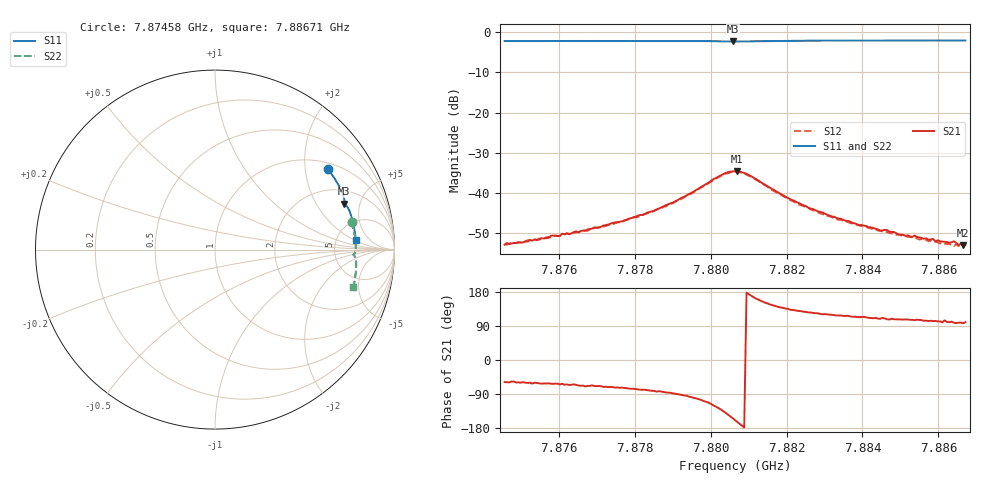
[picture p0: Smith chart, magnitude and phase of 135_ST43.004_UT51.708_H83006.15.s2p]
#  HZ  S  DB  R  50.00
! Rohde & Schwarz Vector Network Analyzer
! Rohde-Schwarz,ZNB20-2Port,1311601062101988,3.16
! Created: UTC 1/12/2023, 6:39:19 PM
! freq[Hz]  db:S11  ang:S11  db:S21  ang:S21  db:S12  ang:S12  db:S22  ang:S22
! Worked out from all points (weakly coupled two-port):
!   201 points, 7.87458 GHz to 7.88671 GHz, reference 50 ohm
!   highest |S21| = -34.57 dB at 7.8807 GHz (marker M1); lowest = -53.0 dB at 7.88665 GHz (marker M2)
!   lowest |S11| = -2.3 dB at 7.88058 GHz (marker M3), VSWR 7.46, Z = 145 + j177 ohm
!   |S11| at or under -10 dB: nowhere
!   |S22| runs from -2.3 to -2.0 dB; largest |S21 - S12| = 0.0013
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7.874579e9  -2.24 35.6  -52.85 -58.4  -52.67 -61.1  -2.20 11.5
7.876641e9  -2.21 29.9  -49.33 -67.5  -49.44 -69.6  -2.14 6.6
7.877672e9  -2.20 27.1  -47.05 -72.8  -47.15 -77.5  -2.12 4.2
7.878642e9  -2.20 24.4  -43.86 -82.2  -43.93 -86.7  -2.11 1.9
7.879249e9  -2.20 22.7  -41.14 -92.3  -41.41 -95.7  -2.11 0.4
7.880341e9  -2.32 19.9  -35.27 -135.3  -35.41 -139.0  -2.22 -2.1
7.880583e9  -2.34 19.6  -34.65 -153.6  -34.79 -157.1  -2.25 -2.2
7.880644e9  -2.34 19.5  -34.58 -158.7  -34.76 -161.9  -2.25 -2.2
7.880705e9  -2.34 19.5  -34.57 -163.4  -34.79 -167.0  -2.25 -2.2
7.881069e9  -2.28 19.0  -35.81 169.8  -35.98 166.3  -2.20 -2.5
7.882039e9  -2.17 16.4  -41.27 134.8  -41.50 131.0  -2.06 -4.6
7.882706e9  -2.15 14.6  -44.03 124.1  -44.32 121.5  -2.03 -6.2
7.883919e9  -2.12 11.3  -48.01 113.5  -48.10 110.0  -2.00 -8.9
7.884708e9  -2.11 9.2  -49.58 106.8  -49.94 104.3  -1.98 -10.7
7.88495e9  -2.10 8.6  -50.36 107.2  -50.23 104.4  -1.98 -11.2
7.88586e9  -2.10 6.2  -51.43 102.6  -52.01 99.9  -1.97 -13.2
7.885921e9  -2.09 6.0  -52.09 103.0  -52.03 98.7  -1.96 -13.3
7.886285e9  -2.09 5.1  -52.38 99.9  -52.72 98.6  -1.96 -14.2
7.886406e9  -2.09 4.8  -52.01 98.4  -53.22 96.5  -1.95 -14.4
7.886467e9  -2.09 4.6  -52.41 97.4  -52.76 97.1  -1.96 -14.5
7.886649e9  -2.09 4.2  -52.98 96.8  -53.20 98.2  -1.96 -14.9
7.886709e9  -2.09 4.0  -52.88 99.9  -53.20 93.9  -1.96 -15.1
